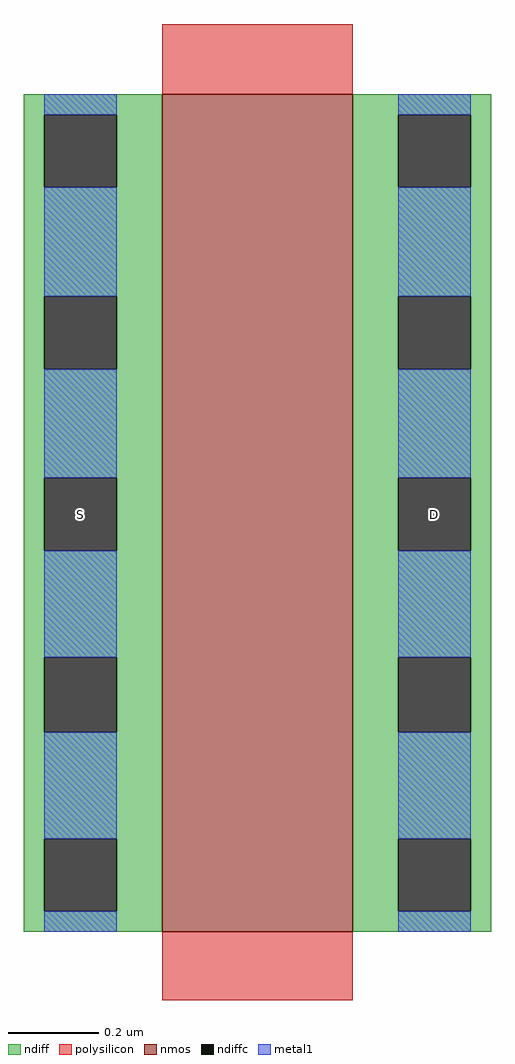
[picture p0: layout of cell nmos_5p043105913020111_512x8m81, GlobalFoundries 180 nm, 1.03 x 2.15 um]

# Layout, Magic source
magic
tech gf180mcuD
magscale 1 10
<< nmos >>
rect 0 0 84 369
<< ndiff >>
rect -61 360 0 369
rect -61 328 -52 360
rect -20 328 0 360
rect -61 280 0 328
rect -61 248 -52 280
rect -20 248 0 280
rect -61 200 0 248
rect -61 168 -52 200
rect -20 168 0 200
rect -61 121 0 168
rect -61 88 -52 121
rect -20 88 0 121
rect -61 41 0 88
rect -61 9 -52 41
rect -20 9 0 41
rect -61 0 0 9
rect 84 360 145 369
rect 84 328 104 360
rect 136 328 145 360
rect 84 280 145 328
rect 84 248 104 280
rect 136 248 145 280
rect 84 200 145 248
rect 84 168 104 200
rect 136 168 145 200
rect 84 121 145 168
rect 84 88 104 121
rect 136 88 145 121
rect 84 41 145 88
rect 84 9 104 41
rect 136 9 145 41
rect 84 0 145 9
<< ndiffc >>
rect -52 328 -20 360
rect -52 248 -20 280
rect -52 168 -20 200
rect -52 88 -20 121
rect -52 9 -20 41
rect 104 328 136 360
rect 104 248 136 280
rect 104 168 136 200
rect 104 88 136 121
rect 104 9 136 41
<< polysilicon >>
rect 0 369 84 400
rect 0 -30 84 0
<< metal1 >>
rect -52 360 -20 369
rect -52 280 -20 328
rect -52 200 -20 248
rect -52 121 -20 168
rect -52 41 -20 88
rect -52 0 -20 9
rect 104 360 136 369
rect 104 280 136 328
rect 104 200 136 248
rect 104 121 136 168
rect 104 41 136 88
rect 104 0 136 9
<< labels >>
flabel ndiffc -36 184 -36 184 0 FreeSans 140 0 0 0 S
flabel ndiffc 120 184 120 184 0 FreeSans 140 0 0 0 D
<< end >>
